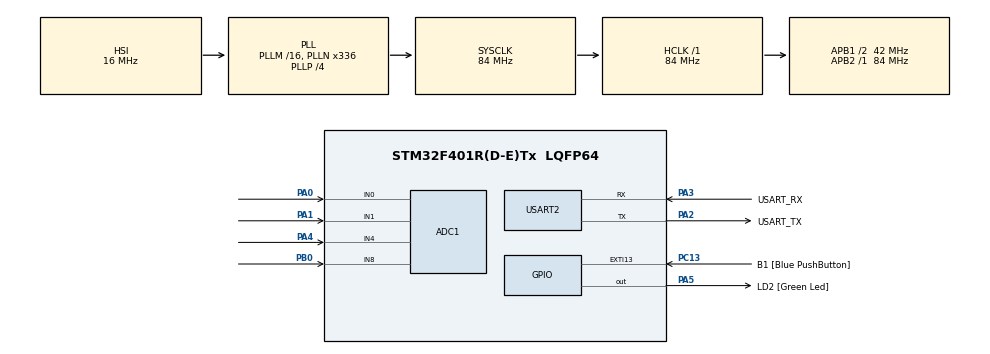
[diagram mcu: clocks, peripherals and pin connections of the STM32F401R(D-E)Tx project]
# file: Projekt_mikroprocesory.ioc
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ADC1.Channel-0\#ChannelRegularConversion=ADC_CHANNEL_0
ADC1.Channel-1\#ChannelRegularConversion=ADC_CHANNEL_0
ADC1.Channel-2\#ChannelRegularConversion=ADC_CHANNEL_0
ADC1.Channel-3\#ChannelRegularConversion=ADC_CHANNEL_0
ADC1.ExternalTrigConv=ADC_EXTERNALTRIGCONV_T2_TRGO
ADC1.NbrOfConversion=4
ADC1.NbrOfConversionFlag=1
ADC1.Rank-0\#ChannelRegularConversion=1
ADC1.Rank-1\#ChannelRegularConversion=2
ADC1.Rank-2\#ChannelRegularConversion=3
ADC1.Rank-3\#ChannelRegularConversion=4
ADC1.SamplingTime-0\#ChannelRegularConversion=ADC_SAMPLETIME_3CYCLES
ADC1.SamplingTime-1\#ChannelRegularConversion=ADC_SAMPLETIME_3CYCLES
ADC1.SamplingTime-2\#ChannelRegularConversion=ADC_SAMPLETIME_3CYCLES
ADC1.SamplingTime-3\#ChannelRegularConversion=ADC_SAMPLETIME_3CYCLES
ADC1.master=1
Dma.Request0=USART2_RX
Dma.USART2_RX.0.Direction=DMA_PERIPH_TO_MEMORY
Dma.USART2_RX.0.FIFOMode=DMA_FIFOMODE_DISABLE
Dma.USART2_RX.0.Instance=DMA1_Stream5
Dma.USART2_RX.0.MemDataAlignment=DMA_MDATAALIGN_BYTE
Dma.USART2_RX.0.MemInc=DMA_MINC_ENABLE
Dma.USART2_RX.0.Mode=DMA_CIRCULAR
Dma.USART2_RX.0.PeriphDataAlignment=DMA_PDATAALIGN_BYTE
Dma.USART2_RX.0.PeriphInc=DMA_PINC_DISABLE
Dma.USART2_RX.0.Priority=DMA_PRIORITY_LOW
Mcu.Family=STM32F4
Mcu.Name=STM32F401R(D-E)Tx
Mcu.Package=LQFP64
NVIC.DMA1_Stream5_IRQn=true\:0\:0\:false\:false\:true\:false\:true\:true
NVIC.PriorityGroup=NVIC_PRIORITYGROUP_4
NVIC.USART2_IRQn=true\:0\:0\:false\:false\:true\:true\:true\:true
PA0-WKUP.Signal=ADCx_IN0
PA1.Signal=ADCx_IN1
PA13.GPIO_Label=TMS
PA13.Mode=Trace_Asynchronous_SW
PA13.Signal=SYS_JTMS-SWDIO
PA14.GPIO_Label=TCK
PA14.Mode=Trace_Asynchronous_SW
PA14.Signal=SYS_JTCK-SWCLK
PA2.GPIO_Label=USART_TX
PA2.GPIO_Mode=GPIO_MODE_AF_PP
PA2.GPIO_PuPd=GPIO_NOPULL
PA2.GPIO_Speed=GPIO_SPEED_FREQ_LOW
PA2.Mode=Asynchronous
PA2.Signal=USART2_TX
PA3.GPIO_Label=USART_RX
PA3.GPIO_Mode=GPIO_MODE_AF_PP
PA3.GPIO_PuPd=GPIO_NOPULL
PA3.GPIO_Speed=GPIO_SPEED_FREQ_LOW
PA3.Mode=Asynchronous
PA3.Signal=USART2_RX
PA4.Signal=ADCx_IN4
PA5.GPIO_Label=LD2 [Green Led]
PA5.GPIO_Mode=GPIO_MODE_OUTPUT_PP
PA5.GPIO_PuPd=GPIO_NOPULL
PA5.GPIO_Speed=GPIO_SPEED_FREQ_LOW
PA5.Signal=GPIO_Output
PB0.Signal=ADCx_IN8
PB3.GPIO_Label=SWO
PB3.Mode=Trace_Asynchronous_SW
PB3.Signal=SYS_JTDO-SWO
PC13-ANTI_TAMP.GPIO_Label=B1 [Blue PushButton]
PC13-ANTI_TAMP.GPIO_ModeDefaultEXTI=GPIO_MODE_IT_FALLING
PC13-ANTI_TAMP.GPIO_PuPd=GPIO_NOPULL
PC13-ANTI_TAMP.Signal=GPXTI13
PC14-OSC32_IN.Mode=LSE-External-Oscillator
PC14-OSC32_IN.Signal=RCC_OSC32_IN
PC15-OSC32_OUT.Mode=LSE-External-Oscillator
PC15-OSC32_OUT.Signal=RCC_OSC32_OUT
PH0\ -\ OSC_IN.Mode=HSE-External-Clock-Source
PH0\ -\ OSC_IN.Signal=RCC_OSC_IN
PH1\ -\ OSC_OUT.Mode=HSE-External-Clock-Source
PH1\ -\ OSC_OUT.Signal=RCC_OSC_OUT
ProjectManager.HeapSize=0x200
ProjectManager.StackSize=0x400
ProjectManager.TargetToolchain=STM32CubeIDE
RCC.48MHZClocksFreq_Value=48000000
RCC.AHBFreq_Value=84000000
RCC.APB1CLKDivider=RCC_HCLK_DIV2
RCC.APB1Freq_Value=42000000
RCC.APB1TimFreq_Value=84000000
RCC.APB2Freq_Value=84000000
RCC.APB2TimFreq_Value=84000000
RCC.CortexFreq_Value=84000000
RCC.HCLKFreq_Value=84000000
RCC.HSE_VALUE=8000000
RCC.HSI_VALUE=16000000
RCC.PLLN=336
RCC.PLLP=RCC_PLLP_DIV4
RCC.PLLQ=7
RCC.SYSCLKFreq_VALUE=84000000
RCC.SYSCLKSource=RCC_SYSCLKSOURCE_PLLCLK
RCC.VCOOutputFreq_Value=336000000
SH.ADCx_IN0.0=ADC1_IN0,IN0
SH.ADCx_IN1.0=ADC1_IN1,IN1
SH.ADCx_IN4.0=ADC1_IN4,IN4
SH.ADCx_IN8.0=ADC1_IN8,IN8
TIM2.TIM_MasterOutputTrigger=TIM_TRGO_UPDATE
USART2.VirtualMode=VM_ASYNC
VP_TIM2_VS_ClockSourceINT.Mode=Internal
board=NUCLEO-F401RE

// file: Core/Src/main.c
/* USER CODE BEGIN Header */
/**
******************************************************************************
* @file : main.c
* @brief : Rejestrator 4ch ADC + FFT
******************************************************************************
*/
/* USER CODE END Header */
#include "main.h" // Główny plik nagłówkowy wygenerowany przez STM32CubeMX (zawiera definicje pinów i bibliotekę HAL)

/* USER CODE BEGIN Includes */
#include <string.h> // Biblioteka do operacji na pamięci (memcpy)
#include <stdio.h>  // Biblioteka standardowa wejścia/wyjścia (sprintf)
#include <stdarg.h> // Biblioteka do obsługi zmiennej liczby argumentów (va_list dla USART_fsend)
#include <stdlib.h> // Biblioteka standardowa (zawiera m.in. funkcje konwersji, choć teraz rzadziej używana)
#include <math.h>   // Biblioteka matematyczna niezbędna do obliczeń FFT (sin, cos, sqrt, log10)
/* USER CODE END Includes */

/* USER CODE BEGIN PD */
#define ADC_CHANNELS        4    // Liczba kanałów przetwornika ADC, które skanujemy
#define SAMPLES_PER_CH      1024 // Liczba próbek na jeden kanał (1024 to optymalna wartość dla FFT, potęga dwójki)
#define DMA_BUF_LEN         (SAMPLES_PER_CH * ADC_CHANNELS * 2) // Całkowity rozmiar bufora DMA. Razy 2, ponieważ używamy trybu Ping-Pong (Double Buffering)
#define PI                  3.14159265359 // Stała Pi używana w algorytmie FFT
#define HISTORY_SIZE        10   // Liczba elementów w buforze historii pomiarów
#define USART_RXBUF_LEN     256  // Rozmiar bufora kołowego do odbierania danych z UART
#define USART_TXBUFF_LEN    512  // Rozmiar bufora pomocniczego do wysyłania tekstów (USART_fsend)

// Makro (obecnie nieużywane w trybie przerwaniowym), które obliczało pozycję głowy DMA
#define DMA_RX_HEAD (USART_RXBUF_LEN - __HAL_DMA_GET_COUNTER(&hdma_usart2_rx))
/* USER CODE END PD */

ADC_HandleTypeDef hadc1; // Uchwyt do konfiguracji i sterowania przetwornikiem ADC1
TIM_HandleTypeDef htim2; // Uchwyt do konfiguracji Timera 2 (wyzwala pomiary ADC)
DMA_HandleTypeDef hdma_adc1; // Uchwyt do kanału DMA obsługującego transfer z ADC
UART_HandleTypeDef huart2; // Uchwyt do interfejsu UART2 (komunikacja z PC)
DMA_HandleTypeDef hdma_usart2_rx; // Uchwyt DMA dla UART RX (nieużywany w nowej wersji na przerwania)

/* USER CODE BEGIN PV */
// --- BUFORY ---
uint16_t adc_dma_buffer[DMA_BUF_LEN]; // Główny, przeplatany bufor, do którego DMA wrzuca surowe wyniki pomiarów ADC
float ch0_fft_input[SAMPLES_PER_CH]; // Bufor na część rzeczywistą (Re) dla kanału 0 do obliczeń FFT
uint16_t ch1_buffer[SAMPLES_PER_CH]; // Odseparowany bufor na próbki z kanału 1 (do wyliczenia amplitudy AC)
uint16_t ch2_buffer[SAMPLES_PER_CH]; // Odseparowany bufor na próbki z kanału 2 (DC)
uint16_t ch3_buffer[SAMPLES_PER_CH]; // Odseparowany bufor na próbki z kanału 3 (DC)

volatile uint8_t flag_half_transfer = 0; // Flaga ustawiana w przerwaniu, gdy DMA zapełni PIERWSZĄ połowę bufora
volatile uint8_t flag_full_transfer = 0; // Flaga ustawiana w przerwaniu, gdy DMA zapełni DRUGĄ połowę bufora

// --- STRUKTURA WYNIKÓW ---
typedef struct {
    uint32_t ch0_dom_freq;  // Obliczona dominująca częstotliwość (Hz) z FFT
    uint32_t ch0_amplitude; // Obliczona amplituda prążka dominującego z FFT
    uint16_t ch1_avg, ch1_med; // ch1_avg = Amplituda Peak-to-Peak (AC), ch1_med = Offset DC
    uint16_t ch2_avg, ch2_med; // Średnia i mediana sygnału stałego DC na kanale 2
    uint16_t ch3_avg, ch3_med; // Średnia i mediana sygnału stałego DC na kanale 3
} AnalysisResult_t; // Definicja typu struktury przechowującej komplet wyników

AnalysisResult_t current_results; // Zmienna trzymająca najświeższe wyniki pomiarów
AnalysisResult_t history_buffer[HISTORY_SIZE]; // Tablica archiwum (historia 10 ostatnich pomiarów)
uint8_t history_idx = 0; // Wskaźnik, w którym miejscu historii aktualnie zapisujemy

// --- LOGOWANIE I UART ---
uint32_t measure_interval_ms = 1000; // Czas w milisekundach określający, jak często zapisywać dane do historii
uint32_t last_log_time = 0; // Zmienna przechowująca czas (z HAL_GetTick) ostatniego zapisu do historii
uint32_t stat_rx_count = 0; // Licznik poprawnie odebranych ramek (do debugowania)
uint32_t stat_tx_count = 0; // Licznik wysłanych odpowiedzi (do debugowania)

uint8_t USART_TxBuf[USART_TXBUFF_LEN]; // Bufor nadawczy
uint8_t USART_RxBuf[USART_RXBUF_LEN];  // Główny bufor kołowy (Ring Buffer) odbiornika UART
__IO int USART_TX_Empty=0; // Zmienne pomocnicze (nieużywane w tej wersji)
__IO int USART_TX_Busy=0;  // Zmienne pomocnicze (nieużywane w tej wersji)
__IO int USART_RX_Empty=0; // "Ogon" bufora RX - wskazuje, do którego miejsca main() odczytał dane
volatile uint32_t USART_RX_Busy = 0; // "Głowa" bufora RX - wskazuje, gdzie przerwanie wpisało ostatni znak

// Parser
typedef enum { FRAME_WAIT_START, FRAME_READ_PAYLOAD } FrameState_t; // Stany maszyny stanów parsera
FrameState_t parser_state = FRAME_WAIT_START; // Aktualny stan maszyny (na start: czekanie na znak '<')
uint16_t parser_idx = 0; // Wskaźnik określający, na którym znaku budowanej ramki jesteśmy
char raw_payload[300]; // Bufor tymczasowy do sklejania odkodowanej ramki z UART
char cmd_data[256]; // Zmienna pomocnicza
char recv_crc_str[5]; // Zmienna pomocnicza do trzymania 4 znaków CRC z ramki jako string
/* USER CODE END PV */

void SystemClock_Config(void);
static void MX_GPIO_Init(void);
static void MX_DMA_Init(void);
static void MX_USART2_UART_Init(void);
static void MX_ADC1_Init(void);
static void MX_TIM2_Init(void);

/* USER CODE BEGIN 0 */
// obsluga buforow kolowych i przerwan

// Funkcja wysyłająca tekst przez UART używając formatowania jak w printf()
void USART_fsend(char* format,...) {
    char tmp_rs[512]; // Tymczasowy bufor na sformatowany tekst
    va_list arglist; // Lista argumentów dla funkcji ze zmienną liczbą parametrów
    va_start(arglist,format); // Inicjalizacja listy
    vsprintf(tmp_rs,format,arglist); // Sklejenie stringa z podanymi zmiennymi
    va_end(arglist); // Zwolnienie listy
    HAL_UART_Transmit(&huart2, (uint8_t*)tmp_rs, strlen(tmp_rs), 100); // Wysłanie gotowego tekstu przez HAL (z timeoutem 100ms)
}

// Proste CRC (XOR + stała) do zabezpieczenia transmisji
uint16_t Calculate_CRC(char* data, uint16_t len) {
    uint16_t sum = 0; // Zmienna trzymająca sumę
    for (int i = 0; i < len; i++) sum += (uint8_t)data[i]; // Dodanie wartości ASCII/HEX każdego znaku
    return (sum ^ 0x1021); // Nałożenie operacji logicznej XOR z wielomianem 0x1021
}

// funkcja do wysyłania surowych bajtów
void Send_Binary(uint8_t* payload, uint16_t payload_len) {
    uint8_t response_buffer[512]; // Większy bufor w razie konieczności rozrostu po kodowaniu
    uint8_t crc_input[260]; // Bufor na dane do obliczenia CRC

    // 1. Składamy to, co wchodzi do CRC (ID + DANE)
    crc_input[0] = 'S'; crc_input[1] = 'T'; crc_input[2] = 'P'; crc_input[3] = 'C'; // Nagłówek ID Nadawcy i Odbiorcy
    memcpy(&crc_input[4], payload, payload_len); // Skopiowanie binarnych danych (bez sprawdzania znaków końca \0)

    uint16_t total_crc_len = 4 + payload_len; // Całkowita długość tego, co podlega CRC

    // 2. Liczymy CRC na CZYSTYCH, niezakodowanych danych
    uint16_t crc = Calculate_CRC((char*)crc_input, total_crc_len); // Obliczenie weryfikatora dla paczki

    // 3. Budujemy finalną ramkę (Z KODOWANIEM ZNAKÓW - Byte Stuffing)
    uint16_t out_idx = 0; // Indeks wyjściowego bufora UART
    response_buffer[out_idx++] = '<'; // Wstawienie znacznika początku ramki

    for(uint16_t i = 0; i < total_crc_len; i++) { // Iteracja przez każdy bajt z oryginalnej paczki
        uint8_t current_byte = crc_input[i]; // Pobranie bajtu

        // KODOWANIE (Byte Stuffing)
        if (current_byte == '\\') { // Jeśli dane to znak 'ukośnik'
            response_buffer[out_idx++] = '\\'; // Wstaw znak ucieczki
            response_buffer[out_idx++] = '0';  // Wstaw '0' jako kod ukośnika
        }
        else if (current_byte == '<') { // Jeśli w danych pojawił się bajt równy 'początek ramki'
            response_buffer[out_idx++] = '\\'; // Wstaw znak ucieczki
            response_buffer[out_idx++] = '1';  // Wstaw '1' jako kod początku ramki
        }
        else if (current_byte == '>') { // Jeśli w danych pojawił się bajt równy 'koniec ramki'
            response_buffer[out_idx++] = '\\'; // Wstaw znak ucieczki
            response_buffer[out_idx++] = '2';  // Wstaw '2' jako kod końca ramki
        }
        else { // Jeśli bajt jest "zwykłą" liczbą
            // Zwykły bajt
            response_buffer[out_idx++] = current_byte; // wstawienie go do ramki wyjściowej
        }
    }

    // 4. Dopisujemy 4 znaki CRC i znak końca (Tego już nie musimy kodować, to zawsze ASCII)
    sprintf((char*)&response_buffer[out_idx], "%04X>\r\n", crc); // Zapis CRC jako 4 znaki HEX, zamknięcie ramki '>' i przejście do nowej linii
    out_idx += 7; // Przesunięcie indeksu o 4(CRC) + 1('>') + 1('\r') + 1('\n')

    // 5. Wysyłka
    HAL_UART_Transmit(&huart2, response_buffer, out_idx, 100); // Wypchnięcie gotowej ramki binarnej do PC
    stat_tx_count++; // Podbicie licznika wysłanych ramek
}

// Algorytm sortowania bąbelkowego (używany do znalezienia mediany)
void BubbleSort(uint16_t* arr, int n) {
    for (int i = 0; i < n - 1; i++) { // Pętla po całej tablicy
        for (int j = 0; j < n - i - 1; j++) { // Pętla porównująca sąsiadów
            if (arr[j] > arr[j + 1]) { // Jeśli lewy jest większy od prawego...
                uint16_t temp = arr[j]; // ...to zamień je miejscami (swap)
                arr[j] = arr[j + 1];
                arr[j + 1] = temp;
            }
        }
    }
}

// Algorytm FFT (Cooley-Tukey Radix-2 DIT) do zamiany sygnału w czasie na widmo częstotliwościowe
void FFT(float *rex, float *imx, int n) {
    int m = (int)(log10(n) / log10(2)); // Obliczenie liczby etapów (dla N=1024 to 10 etapów)
    int i, j, k, n1, n2; // Zmienne pomocnicze do pętli
    float c, s, e, a, t1, t2; // Zmienne do trygonometrii (sin/cos) i tymczasowych obliczeń
    j = 0; n2 = n / 2; // Inicjalizacja do odwracania bitów (Bit Reversal)

    // 1. Bit Reversal (Tasowanie próbek do odpowiedniej kolejności przed FFT)
    for (i = 1; i < n - 1; i++) {
        n1 = n2;
        while (j >= n1) { j = j - n1; n1 = n1 / 2; }
        j = j + n1;
        if (i < j) { // Jeśli indeks odwrotny jest większy, zamień pozycje
            t1 = rex[i]; rex[i] = rex[j]; rex[j] = t1; // Zamiana części Rzeczywistej
            t1 = imx[i]; imx[i] = imx[j]; imx[j] = t1; // Zamiana części Urojonej
        }
    }

    // 2. Właściwe obliczenia FFT (tzw. "Motylki" / Butterfly Operations)
    n1 = 0; n2 = 1;
    for (i = 0; i < m; i++) { // Pętla po etapach logarytmicznych
        n1 = n2; n2 = n2 + n2; // Zwiększanie rozmiaru "motylka" dwukrotnie
        e = -3.14159265359 / n1; a = 0.0; // Ustalenie kąta dla współczynników
        for (j = 0; j < n1; j++) { // Pętla po elementach wewnątrz grupy
            c = cos(a); s = sin(a); a = a + e; // Obliczenie części cosinus i sinus (Twiddle factors)
            for (k = j; k < n; k = k + n2) { // Pętla skacząca po głównym buforze
                t1 = c * rex[k + n1] - s * imx[k + n1]; // Część rzeczywista mnożenia
                t2 = c * imx[k + n1] + s * rex[k + n1]; // Część urojona mnożenia
                rex[k + n1] = rex[k] - t1; imx[k + n1] = imx[k] - t2; // Odejmij od dolnej połówki
                rex[k] = rex[k] + t1; imx[k] = imx[k] + t2; // Dodaj do górnej połówki
            }
        }
    }
}

// Funkcja trawiąca surowe dane z ADC
void Process_ADC_Data(uint16_t* source_buffer) {
    float imaginary_buffer[SAMPLES_PER_CH]; // Lokalny bufor na część urojoną dla FFT

    // 1. Demultipleksacja (Rozdzielenie przeplatanych danych z 4 kanałów na osobne tablice)
    for (int i = 0; i < SAMPLES_PER_CH; i++) {
        // CH0 (FFT): Odejmujemy 2048, aby usunąć składową DC (bias 1.65V) i mieć falę wokół 0
        ch0_fft_input[i] = (float)source_buffer[i * ADC_CHANNELS + 0] - 2048.0;
        imaginary_buffer[i] = 0.0; // Zerujemy część urojoną na start
        ch1_buffer[i]    = source_buffer[i * ADC_CHANNELS + 1]; // Zapisz surowe dane dla CH1
        ch2_buffer[i]    = source_buffer[i * ADC_CHANNELS + 2]; // Zapisz surowe dane dla CH2
        ch3_buffer[i]    = source_buffer[i * ADC_CHANNELS + 3]; // Zapisz surowe dane dla CH3
    }

    // 2. OBLICZENIA FFT (Kanał 0)
    FFT(ch0_fft_input, imaginary_buffer, SAMPLES_PER_CH); // Uruchomienie transformaty
    float max_magnitude = 0; // Zmienna na najwyższą znalezioną amplitudę
    int max_index = 0; // Indeks komórki, w której była najwyższa amplituda

    for (int i = 1; i < SAMPLES_PER_CH / 2; i++) { // Leci do połowy (odcięcie częstotliwości Nyquista). i=1 omija DC.
        // Twierdzenie Pitagorasa na liczbach zespolonych -> obliczenie Modułu (Amplitudy)
        float mag = sqrt(ch0_fft_input[i]*ch0_fft_input[i] + imaginary_buffer[i]*imaginary_buffer[i]);
        if (mag > max_magnitude) { // Jeśli ta amplituda jest największa...
            max_magnitude = mag; // ...zapamiętaj ją
            max_index = i; // ...oraz jej położenie w tablicy
        }
    }
    // Zapis do struktury globalnej. (max_index * 8000Hz) / 1024 próbek = Rzeczywista częstotliwość w Hz
    current_results.ch0_amplitude = (uint32_t)max_magnitude;
    current_results.ch0_dom_freq  = (max_index * 8000) / SAMPLES_PER_CH;

    // 3. OBLICZENIA STATYSTYCZNE (Kanały 1-3)
    uint32_t sum; // Zmienna pomocnicza do liczenia średniej
    uint16_t min_val = 4096, max_val = 0; // Zmienne do szukania maksimum i minimum (amplituda P-P)

    // CH1 (Sygnał zmienny AC)
    for(int i=0; i<SAMPLES_PER_CH; i++) {
        if(ch1_buffer[i] < min_val) min_val = ch1_buffer[i]; // Znajdź dolny punkt fali
        if(ch1_buffer[i] > max_val) max_val = ch1_buffer[i]; // Znajdź szczyt fali
    }
    current_results.ch1_avg = max_val - min_val; // Amplituda Peak-to-Peak (zapisana w polu "avg" dla spójności structa)
    BubbleSort(ch1_buffer, SAMPLES_PER_CH); // Sortuj bufor od najmniejszej do największej
    current_results.ch1_med = ch1_buffer[SAMPLES_PER_CH/2]; // Środkowy element to Mediana (tutaj: offset DC fali)

    // CH2 (Sygnał stały DC)
    sum = 0; for(int i=0; i<SAMPLES_PER_CH; i++) sum += ch2_buffer[i]; // Zsumuj wszystko
    current_results.ch2_avg = sum / SAMPLES_PER_CH; // Zwykła średnia arytmetyczna
    BubbleSort(ch2_buffer, SAMPLES_PER_CH); // Sortuj
    current_results.ch2_med = ch2_buffer[SAMPLES_PER_CH/2]; // Mediana (odporna na "szpilki" napięcia)

    // CH3 (Sygnał stały DC - analogicznie jak CH2)
    sum = 0; for(int i=0; i<SAMPLES_PER_CH; i++) sum += ch3_buffer[i];
    current_results.ch3_avg = sum / SAMPLES_PER_CH;
    BubbleSort(ch3_buffer, SAMPLES_PER_CH);
    current_results.ch3_med = ch3_buffer[SAMPLES_PER_CH/2];

    // 4. Historia
    // Jeśli minął określony czas (measure_interval_ms) od ostatniego logu...
    if (HAL_GetTick() - last_log_time >= measure_interval_ms) {
        last_log_time = HAL_GetTick(); // Zresetuj timer
        history_buffer[history_idx] = current_results; // Zapisz aktualne wyniki jako nową "klatkę" archiwum
        history_idx++; // Przejdź o jedno oczko dalej
        if (history_idx >= HISTORY_SIZE) history_idx = 0; // Jeśli historia jest pełna, nadpisuj najstarsze pomiary
    }
}

// Callback wywoływany przez sprzętowe DMA gdy przepisze połowę z 8192 bajtów bufora
void HAL_ADC_ConvHalfCpltCallback(ADC_HandleTypeDef* hadc) { flag_half_transfer = 1; }
// Callback wywoływany przez DMA gdy dotrze do samego końca bufora (wtedy samo zaczyna znów od zera)
void HAL_ADC_ConvCpltCallback(ADC_HandleTypeDef* hadc) { flag_full_transfer = 1; }
/* USER CODE END 0 */

int main(void)
{

  /* MCU Configuration--------------------------------------------------------*/

  /* Reset of all peripherals, Initializes the Flash interface and the Systick. */
  HAL_Init(); // Rozruch głównej biblioteki obsługującej sprzęt (Hardware Abstraction Layer)

  /* Configure the system clock */
  SystemClock_Config(); // Ustawia zegary procesora (np. PLL na 84MHz)

  /* Initialize all configured peripherals */
  MX_GPIO_Init();        // Inicjalizacja portów np. diody LED na płytce
  MX_DMA_Init();         // Włączenie zegarów dla sterowników DMA
  MX_USART2_UART_Init(); // Inicjalizacja sprzętowego UARTa do PC (Baudrate 115200)
  MX_ADC1_Init();        // Konfiguracja ADC (Skanowanie 4 kanałów)
  MX_TIM2_Init();        // Konfiguracja Timera 2 (Wyzwalacz ADC na 8000 Hz)
  /* USER CODE BEGIN 2 */

  // Uruchomienie UART w trybie przerwań. Czekamy na pierwszy (1) znak do komórki pod indeksem USART_RX_Busy.
  HAL_UART_Receive_IT(&huart2, (uint8_t *)&USART_RxBuf[USART_RX_Busy], 1);

    // Start Timer (zacznij tykać 8000 razy na sekundę)
    HAL_TIM_Base_Start(&htim2);
    // Start ADC złączonego z DMA. Rozpocznij wrzucanie pomiarów prosto do pamięci RAM omijając procesor.
    HAL_ADC_Start_DMA(&hadc1, (uint32_t*)adc_dma_buffer, DMA_BUF_LEN);

    USART_fsend("SYSTEM READY\r\n"); // Pierwszy komunikat powitalny wysłany do PC
  /* USER CODE END 2 */

  /* Infinite loop */
  /* USER CODE BEGIN WHILE */
  while (1) // Nieskończona główna pętla mikrokontrolera
  {
    /* USER CODE END WHILE */

    /* USER CODE BEGIN 3 */
	  // --- 1. OBSŁUGA ADC / FFT ---
	      if (flag_half_transfer) { // Jeśli przerwanie zgłosiło, że pierwsza połowa danych jest gotowa
	          Process_ADC_Data(&adc_dma_buffer[0]); // Odpal DSP na danych zaczynając od indeksu 0
	          flag_half_transfer = 0; // Opuść flagę, czekaj na kolejną paczkę
	      }
	      if (flag_full_transfer) { // Jeśli przerwanie zgłosiło, że druga połowa danych jest gotowa
	          Process_ADC_Data(&adc_dma_buffer[DMA_BUF_LEN / 2]); // Odpal DSP na danych od połowy (indeks 4096)
	          flag_full_transfer = 0; // Opuść flagę
	      }

	      // --- 2. OBSŁUGA UART IT (Odbiór asynchroniczny, tzw. Bufor Kołowy) ---

          // Dopóki wskaźnik "Empty" nasłuchujący dogania głowę "Busy" wpisywaną przez przerwanie...
	      while (USART_RX_Empty != USART_RX_Busy) {

	                char rx_char = USART_RxBuf[USART_RX_Empty]; // Wyciągnij pojedynczy znak z bufora
	                USART_RX_Empty++; // Przesuń wzrok na następny znak
	                if (USART_RX_Empty >= USART_RXBUF_LEN) USART_RX_Empty = 0; // Zawinięcie bufora kołowego, jeśli dojechaliśmy do końca

	              // A. Synchronizacja (Twardy reset parsera przy znaku startu)
	              if (rx_char == '<') { // Oznacznik początku naszej tekstowej "koperty" ramki
	                  parser_state = FRAME_READ_PAYLOAD; // Zmień stan z uśpionego na "czytam zawartość"
	                  parser_idx = 0; // Zacznij budowanie nowego łańcucha od zera
	                  // Znak ucieczki zerujemy, a continue wymusza pobranie następnego znaku z ominięciem Switcha.
	                  continue;
	              }

	              static uint8_t escape_flag = 0; // Pamięć parsera mówiąca, że poprzedni znak wymusza dekodowanie

	              switch(parser_state) {
	                  case FRAME_WAIT_START: // Stan bezczynny
	                      break; // Śmieci lub ciąg znaków bez '<' lecą w próżnię

	                  case FRAME_READ_PAYLOAD: // Stan główny
	                      if (escape_flag == 1) { // Jeżeli poprzednio otrzymaliśmy ukośnik ('\')...
	                          escape_flag = 0; // Zużywamy flagę od razu

	                          // 1. DEKODOWANIE (Byte Stuffing - Tłumaczenie kodów z powrotem na oryginalne znaki)
	                          if (rx_char == '0') {
	                              raw_payload[parser_idx] = '\\'; // Kod \0 znaczy, że ktoś wysłał sam ukośnik
	                          }
	                          else if (rx_char == '1') {
	                              raw_payload[parser_idx] = '<'; // Kod \1 znaczy, że ktoś wysłał w danych znak <
	                          }
	                          else if (rx_char == '2') {
	                              raw_payload[parser_idx] = '>'; // Kod \2 znaczy, że ktoś wysłał w danych znak >
	                          }
	                          else {
	                              // BŁĄD PROTOKOŁU: 253 nieprawidłowe kombinacje! Odpalił ukośnik, a wysłał np. literę.
	                              // Odrzucamy całą, uszkodzononą ramkę i resetujemy maszynę
	                              parser_state = FRAME_WAIT_START;
	                              continue;
	                          }

	                          // 2. Ochrona pamięci (Warunek sprawdzany PO poprawnym zdekodowaniu)
	                          parser_idx++; // Inkrementuj pozycję tablicy
	                          if (parser_idx >= 300) { // Przepełenienie tablicy
	                              parser_state = FRAME_WAIT_START; // Zerwij ramkę, uniknij przepełnienia bufora (Buffer Overflow)
	                          }
	                      }
	                      else if (rx_char == '\\') {
	                          escape_flag = 1; // Zaczynamy sekwencję ucieczki (Nie dodajemy tego do bufora!)
	                      }
	                      else if (rx_char == '>') {
	                          // --- KONIEC RAMKI - ANALIZA CAŁKOWICIE BINARNA ---
                              // Skoro dotarliśmy tutaj, to mamy w raw_payload czyste, nierozbite binarne dane oraz tekstowe CRC

	                          // Min. długość: 4 bajty ID (PCST) + 4 bajty CRC = 8 bajtów niezbędnego minimum
	                          if (parser_idx >= 8) {
	                              int crc_start_idx = parser_idx - 4; // Punkt, w którym urywa się payload, a zaczyna 4-znakowe sumaryczne CRC

	                              // 3. Ręczna konwersja CRC bez użycia strtol() (Szybkie i bezpieczne rzutowanie z HEX ASCII na Int)
	                              uint16_t recv_crc = 0;
	                              for (int i = 0; i < 4; i++) {
	                                  char c = raw_payload[crc_start_idx + i]; // Pobierz jeden z czterech znaków CRC
	                                  recv_crc <<= 4; // Przesuwamy wynik o 4 bity w lewo (robimy miejsce dla nowej cyfry HEX)
	                                  if (c >= '0' && c <= '9')      recv_crc |= (c - '0'); // Jeśli to 0-9, wrzuć w najmłodsze bity
	                                  else if (c >= 'A' && c <= 'F') recv_crc |= (c - 'A' + 10); // Jeśli to A-F, przeskaluj i wrzuć
	                              }

	                              // Własne CRC obliczone przez STM (od indeksu 0 do miejsca, gdzie zaczyna się przysłane CRC)
	                              uint16_t calc_crc = Calculate_CRC(raw_payload, crc_start_idx);

	                              if (calc_crc == recv_crc) { // Jeżeli CRC sprzętu i CRC ramki są identyczne...

	                                  // 4. Rozpoznawanie ID i Komend BEZ użycia funkcji C-Stringowych (ręcznie na bajtach, ignorując zera)
	                                  if (raw_payload[0] == 'P' && raw_payload[1] == 'C' &&  // ID Nadawcy = PC
	                                      raw_payload[2] == 'S' && raw_payload[3] == 'T')    // ID Odbiorcy = ST
	                                  {
	                                      stat_rx_count++; // Zwiększ statystyki dobrych pakietów

	                                      uint8_t* data_ptr = (uint8_t*)&raw_payload[4]; // Wskaźnik na początek właściwego ładunku (Danych)
	                                      int data_len = crc_start_idx - 4; // Wyliczona długość właściwego ładunku

	                                      // Weryfikacja komendy "GET CH0" (sprawdzamy idealne dopasowanie długości i liter)
	                                      if (data_len == 7 &&
	                                          data_ptr[0] == 'G' && data_ptr[1] == 'E' && data_ptr[2] == 'T' &&
	                                          data_ptr[3] == ' ' && data_ptr[4] == 'C' && data_ptr[5] == 'H' && data_ptr[6] == '0')
	                                      {
	                                          // Budowa binarnej odpowiedzi dla CH0 zgodnie z tabelą w dokumentacji
	                                          uint8_t bin_payload[13];
	                                          bin_payload[0]='C'; bin_payload[1]='H'; bin_payload[2]='0'; bin_payload[3]='F'; // "CH0F"

                                              // Przekształcanie 32-bitowej liczby do 4 bajtów - Protokół Network Big Endian
	                                          bin_payload[4] = (current_results.ch0_dom_freq >> 24) & 0xFF; // Najbardziej znaczący bajt
	                                          bin_payload[5] = (current_results.ch0_dom_freq >> 16) & 0xFF; // Drugi bajt
	                                          bin_payload[6] = (current_results.ch0_dom_freq >> 8)  & 0xFF; // Trzeci bajt
	                                          bin_payload[7] =  current_results.ch0_dom_freq        & 0xFF; // Najmniej znaczący bajt

                                              bin_payload[8] = 'A'; // "A" - Amplituda

                                              // Kolejne rozbijanie na części Big Endian
	                                          bin_payload[9]  = (current_results.ch0_amplitude >> 24) & 0xFF;
	                                          bin_payload[10] = (current_results.ch0_amplitude >> 16) & 0xFF;
	                                          bin_payload[11] = (current_results.ch0_amplitude >> 8)  & 0xFF;
	                                          bin_payload[12] =  current_results.ch0_amplitude        & 0xFF;

                                              Send_Binary(bin_payload, 13); // Odpal zabezpieczoną funkcję nadającą
	                                      }
	                                      // Weryfikacja komendy "GET CH1"
	                                      else if (data_len == 7 &&
	                                               data_ptr[0] == 'G' && data_ptr[1] == 'E' && data_ptr[2] == 'T' &&
	                                               data_ptr[3] == ' ' && data_ptr[4] == 'C' && data_ptr[5] == 'H' && data_ptr[6] == '1')
	                                      {
	                                          // Budowa binarnej odpowiedzi dla CH1
	                                          uint8_t bin_payload[13];
	                                          bin_payload[0]='C'; bin_payload[1]='H'; bin_payload[2]='1'; // "CH1"
	                                          bin_payload[3]='A'; bin_payload[4]='V'; bin_payload[5]='G'; // "AVG"

                                              // AVG to liczba 16-bitowa, rozbijamy na 2 bajty (Big Endian)
	                                          bin_payload[6] = (current_results.ch1_avg >> 8) & 0xFF; // Górny bajt (MSB)
	                                          bin_payload[7] =  current_results.ch1_avg       & 0xFF; // Dolny bajt (LSB)

	                                          bin_payload[8]='M'; bin_payload[9]='E'; bin_payload[10]='D'; // "MED"

                                              // MED to liczba 16-bitowa
	                                          bin_payload[11] = (current_results.ch1_med >> 8) & 0xFF; // MSB
	                                          bin_payload[12] =  current_results.ch1_med       & 0xFF; // LSB

	                                          Send_Binary(bin_payload, 13); // Odpal funkcję nadającą
	                                      }
	                                  }
	                              }
	                          }
	                          // Koniec bloku analizy, po przetworzeniu udanej (lub błędnej z powodu złego CRC) ramki resetujemy maszynę
	                          parser_state = FRAME_WAIT_START; // Czekamy na nowe "<"
	                          escape_flag = 0; // Ubezpieczenie - kasowanie flag ucieczki
	                      }
	                      else {
	                          // Tryb normalnego zapisu "niegroźnych" znaków
	                          raw_payload[parser_idx] = rx_char; // Przypisz znak do tablicy

	                          // 2. Warunek sprawdzany PO zmianie parametru, by chronić wskaźnik
	                          parser_idx++;
	                          if (parser_idx >= 300) {
	                              parser_state = FRAME_WAIT_START; // Zerwij ramkę, unikaj Buffer Overflow
	                          }
	                      }
	                      break;

	                  default:
	                      parser_state = FRAME_WAIT_START; // Gdyby maszyna weszła w zły stan, rzuć w domyślny
	                      break;
	              }

	          }
  /* USER CODE END 3 */
}
}

void SystemClock_Config(void)
{
    // CUBEMX AUTO-GENERATE ...
  RCC_OscInitTypeDef RCC_OscInitStruct = {0};
  RCC_ClkInitTypeDef RCC_ClkInitStruct = {0};

  /** Configure the main internal regulator output voltage
  */
  __HAL_RCC_PWR_CLK_ENABLE();
  __HAL_PWR_VOLTAGESCALING_CONFIG(PWR_REGULATOR_VOLTAGE_SCALE2);

  /** Initializes the RCC Oscillators according to the specified parameters
  * in the RCC_OscInitTypeDef structure.
  */
  RCC_OscInitStruct.OscillatorType = RCC_OSCILLATORTYPE_HSI;
  RCC_OscInitStruct.HSIState = RCC_HSI_ON;
  RCC_OscInitStruct.HSICalibrationValue = RCC_HSICALIBRATION_DEFAULT;
  RCC_OscInitStruct.PLL.PLLState = RCC_PLL_ON;
  RCC_OscInitStruct.PLL.PLLSource = RCC_PLLSOURCE_HSI;
  RCC_OscInitStruct.PLL.PLLM = 16;
  RCC_OscInitStruct.PLL.PLLN = 336;
  RCC_OscInitStruct.PLL.PLLP = RCC_PLLP_DIV4;
  RCC_OscInitStruct.PLL.PLLQ = 7;
  if (HAL_RCC_OscConfig(&RCC_OscInitStruct) != HAL_OK)
  {
    Error_Handler();
  }

  /** Initializes the CPU, AHB and APB buses clocks
  */
  RCC_ClkInitStruct.ClockType = RCC_CLOCKTYPE_HCLK|RCC_CLOCKTYPE_SYSCLK
                              |RCC_CLOCKTYPE_PCLK1|RCC_CLOCKTYPE_PCLK2;
  RCC_ClkInitStruct.SYSCLKSource = RCC_SYSCLKSOURCE_PLLCLK;
  RCC_ClkInitStruct.AHBCLKDivider = RCC_SYSCLK_DIV1;
  RCC_ClkInitStruct.APB1CLKDivider = RCC_HCLK_DIV2;
  RCC_ClkInitStruct.APB2CLKDivider = RCC_HCLK_DIV1;

  if (HAL_RCC_ClockConfig(&RCC_ClkInitStruct, FLASH_LATENCY_2) != HAL_OK)
  {
    Error_Handler();
  }
}

static void MX_ADC1_Init(void)
{
    // CUBEMX AUTO-GENERATE ...
  ADC_ChannelConfTypeDef sConfig = {0};

  hadc1.Instance = ADC1;
  hadc1.Init.ClockPrescaler = ADC_CLOCK_SYNC_PCLK_DIV4;
  hadc1.Init.Resolution = ADC_RESOLUTION_12B; // Przetwornik 12-bitowy (0 - 4095)
  hadc1.Init.ScanConvMode = ENABLE; // Wymusza odczyt wielu kanałów naraz podczas jednego pomiaru
  hadc1.Init.ContinuousConvMode = DISABLE; // Skanowanie wyzwalane jest sprzętowo, nie pętlą stałą
  hadc1.Init.DiscontinuousConvMode = DISABLE;
  hadc1.Init.ExternalTrigConvEdge = ADC_EXTERNALTRIGCONVEDGE_RISING;
  hadc1.Init.ExternalTrigConv = ADC_EXTERNALTRIGCONV_T2_TRGO; // Pomiar startuje na sygnał zbocza narastającego z Timera 2
  hadc1.Init.DataAlign = ADC_DATAALIGN_RIGHT;
  hadc1.Init.NbrOfConversion = 4; // Będziemy skanować 4 kanały podczas jednego cyklu
  hadc1.Init.DMAContinuousRequests = DISABLE;
  hadc1.Init.EOCSelection = ADC_EOC_SINGLE_CONV;
  if (HAL_ADC_Init(&hadc1) != HAL_OK)
  {
    Error_Handler();
  }

  // Ranga (kolejność) pierwsza
  sConfig.Channel = ADC_CHANNEL_0;
  sConfig.Rank = 1;
  sConfig.SamplingTime = ADC_SAMPLETIME_3CYCLES;
  if (HAL_ADC_ConfigChannel(&hadc1, &sConfig) != HAL_OK) { Error_Handler(); }

  // Ranga druga
  sConfig.Rank = 2;
  if (HAL_ADC_ConfigChannel(&hadc1, &sConfig) != HAL_OK) { Error_Handler(); }

  // Ranga trzecia
  sConfig.Rank = 3;
  if (HAL_ADC_ConfigChannel(&hadc1, &sConfig) != HAL_OK) { Error_Handler(); }

  // Ranga czwarta
  sConfig.Rank = 4;
  if (HAL_ADC_ConfigChannel(&hadc1, &sConfig) != HAL_OK) { Error_Handler(); }
}

static void MX_TIM2_Init(void)
{
    // CUBEMX AUTO-GENERATE ...
  TIM_ClockConfigTypeDef sClockSourceConfig = {0};
  TIM_MasterConfigTypeDef sMasterConfig = {0};

  htim2.Instance = TIM2;
  htim2.Init.Prescaler = 0; // Brak preskalera (szybkie uderzenia)
  htim2.Init.CounterMode = TIM_COUNTERMODE_UP;
  htim2.Init.Period = 4294967295; // Wartość ustalająca częstotliwość f_s (np. dobita w CubeMX na 8kHz)
  htim2.Init.ClockDivision = TIM_CLOCKDIVISION_DIV1;
  htim2.Init.AutoReloadPreload = TIM_AUTORELOAD_PRELOAD_DISABLE;
  if (HAL_TIM_Base_Init(&htim2) != HAL_OK) { Error_Handler(); }
  sClockSourceConfig.ClockSource = TIM_CLOCKSOURCE_INTERNAL;
  if (HAL_TIM_ConfigClockSource(&htim2, &sClockSourceConfig) != HAL_OK) { Error_Handler(); }

  // Timer wypluwa zdarzenie UPDATE (TRGO) które jest uderzeniem pobudzającym ADC
  sMasterConfig.MasterOutputTrigger = TIM_TRGO_UPDATE;
  sMasterConfig.MasterSlaveMode = TIM_MASTERSLAVEMODE_DISABLE;
  if (HAL_TIMEx_MasterConfigSynchronization(&htim2, &sMasterConfig) != HAL_OK) { Error_Handler(); }
}

static void MX_USART2_UART_Init(void)
{
    // CUBEMX AUTO-GENERATE ...
  huart2.Instance = USART2;
  huart2.Init.BaudRate = 115200; // Szybkość transmisji 115200 bitów/s
  huart2.Init.WordLength = UART_WORDLENGTH_8B;
  huart2.Init.StopBits = UART_STOPBITS_1;
  huart2.Init.Parity = UART_PARITY_NONE;
  huart2.Init.Mode = UART_MODE_TX_RX; // Nadawanie i Odbieranie włączone
  huart2.Init.HwFlowCtl = UART_HWCONTROL_NONE;
  huart2.Init.OverSampling = UART_OVERSAMPLING_16;
  if (HAL_UART_Init(&huart2) != HAL_OK) { Error_Handler(); }
}

static void MX_DMA_Init(void)
{
  /* DMA controller clock enable */
  __HAL_RCC_DMA1_CLK_ENABLE(); // Włączenie zegara kontrolera DMA

  /* DMA interrupt init */
  /* DMA1_Stream5_IRQn interrupt configuration */
  HAL_NVIC_SetPriority(DMA1_Stream5_IRQn, 0, 0); // Ustalenie priorytetu wywołań (0 = najwyższy)
  HAL_NVIC_EnableIRQ(DMA1_Stream5_IRQn); // Aktywacja pinu obsługi przerwań sprzętowych
}

static void MX_GPIO_Init(void)
{
  GPIO_InitTypeDef GPIO_InitStruct = {0};

  /* GPIO Ports Clock Enable */
  __HAL_RCC_GPIOC_CLK_ENABLE(); // Port m.in. przycisku uzytkownika B1
  __HAL_RCC_GPIOH_CLK_ENABLE(); // Zegar systemowy
  __HAL_RCC_GPIOA_CLK_ENABLE(); // Port np. Dioda LD2, piny ADC
  __HAL_RCC_GPIOB_CLK_ENABLE(); // Inne komponenty

  /*Configure GPIO pin Output Level */
  HAL_GPIO_WritePin(LD2_GPIO_Port, LD2_Pin, GPIO_PIN_RESET); // Ustawia diodę (Pin A5 na płytce) domyślnie na wyłączoną

  /*Configure GPIO pin : B1_Pin */
  GPIO_InitStruct.Pin = B1_Pin;
  GPIO_InitStruct.Mode = GPIO_MODE_IT_FALLING; // Przerwanie przy puszczeniu guzika User Button
  GPIO_InitStruct.Pull = GPIO_NOPULL;
  HAL_GPIO_Init(B1_GPIO_Port, &GPIO_InitStruct);

  /*Configure GPIO pin : LD2_Pin */
  GPIO_InitStruct.Pin = LD2_Pin;
  GPIO_InitStruct.Mode = GPIO_MODE_OUTPUT_PP; // Tryb wyjściowy Push-Pull dla diody LED
  GPIO_InitStruct.Pull = GPIO_NOPULL;
  GPIO_InitStruct.Speed = GPIO_SPEED_FREQ_LOW;
  HAL_GPIO_Init(LD2_GPIO_Port, &GPIO_InitStruct);
}

// obowiazkowe
/* USER CODE BEGIN 4 */

// Callback wykonywany sprzętowo po otrzymaniu DOKŁADNIE jednego znaku (IT RxCplt) przez UART
void HAL_UART_RxCpltCallback(UART_HandleTypeDef *huart)
{
    if(huart->Instance == USART2) // Upewniamy się, że to przerwanie wywołał właściwy UART2
    {
        // 1. Opcjonalne mrugnięcie (np. dla debugowania na płycie)
        HAL_GPIO_TogglePin(LD2_GPIO_Port, LD2_Pin);

        // 2. Przesuwamy głowę (wskaźnik wpisania najnowszego znaku) o jedno miejsce dalej
        USART_RX_Busy++;

        // Jeśli dotarliśmy do końca tablicy (indeks 256) -> zawijamy na 0. (Struktura Bufora Kołowego)
        if(USART_RX_Busy >= USART_RXBUF_LEN) {
            USART_RX_Busy = 0;
        }

        // 3. Włączamy ponownie czujkę sprzętową na otrzymanie kolejnego pojedyńczego (1) znaku do zaktualizowanego miejsca w tablicy
        HAL_UART_Receive_IT(&huart2, (uint8_t *)&USART_RxBuf[USART_RX_Busy], 1);
    }
}
/* USER CODE END 4 */

void Error_Handler(void)
{
  /* USER CODE BEGIN Error_Handler_Debug */
  /* User can add his own implementation to report the HAL error return state */
  __disable_irq(); // Jeśli mikrokontroler padnie krytycznie, blokuje wszystkie przerwania
  while (1) // Wrzuca program w zamrożenie dla bezpieczeństwa
  {
  }
  /* USER CODE END Error_Handler_Debug */
}
